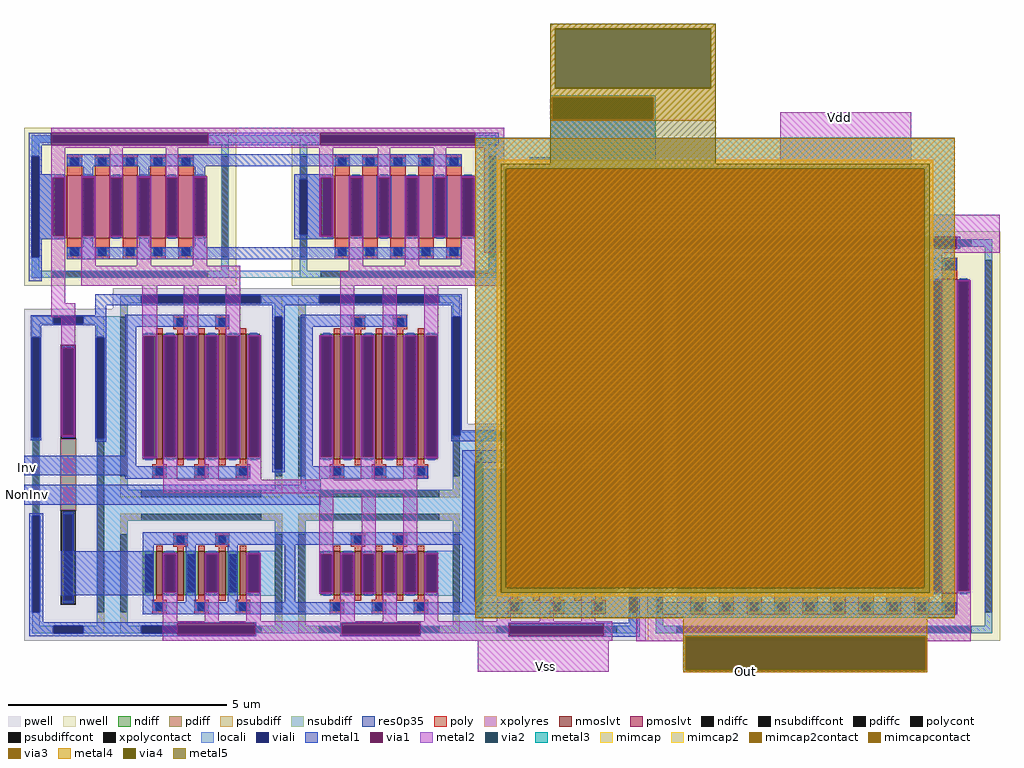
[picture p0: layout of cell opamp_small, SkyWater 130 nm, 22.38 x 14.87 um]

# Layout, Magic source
magic
tech sky130A
magscale 1 2
<< locali >>
rect -425 1474 -329 1508
rect 381 1474 897 1508
rect 1607 1474 1705 1508
rect -425 1412 -391 1474
rect -391 1032 -277 1330
rect -425 888 -391 950
rect 443 888 477 1474
rect 803 1330 837 1474
rect 803 1306 951 1330
rect 837 1052 951 1306
rect 803 1032 951 1052
rect 1671 1032 1705 1474
rect 803 888 837 1032
rect 1671 998 2643 1032
rect 3815 998 3977 1032
rect 1671 888 1705 998
rect -425 854 1705 888
rect -19 738 77 772
rect 625 738 893 772
rect 1441 738 1538 772
rect -19 678 15 738
rect -423 644 -327 678
rect -189 644 15 678
rect -423 582 -389 644
rect -423 -236 -389 122
rect -423 -740 -389 -678
rect -127 582 15 644
rect -93 116 15 582
rect -127 -118 15 116
rect 689 676 830 738
rect 723 -24 830 676
rect 1504 676 1538 738
rect 1504 150 1505 676
rect 1503 130 1505 150
rect 1539 130 1707 150
rect 1503 116 1707 130
rect 2257 116 2353 150
rect 689 -118 830 -24
rect 1504 -20 1645 116
rect 2319 54 2353 116
rect 1504 -118 1759 -20
rect -127 -260 1759 -118
rect -127 -740 15 -260
rect 689 -396 830 -260
rect 1504 -396 1759 -260
rect 575 -604 830 -396
rect 1389 -604 1759 -396
rect 689 -740 830 -604
rect 1504 -740 1645 -604
rect 2319 -740 2353 -678
rect -423 -774 -327 -740
rect -189 -774 77 -740
rect 597 -774 995 -740
rect 1353 -774 1765 -740
rect 2197 -774 2353 -740
rect 2435 -740 2469 998
rect 3943 -740 3977 998
rect 2435 -774 3977 -740
<< viali >>
rect -329 1474 381 1508
rect 897 1474 1607 1508
rect -425 950 -391 1412
rect 803 1052 837 1306
rect 2643 998 3815 1032
rect 77 738 625 772
rect 893 738 1441 772
rect -327 644 -189 678
rect -423 122 -389 582
rect -423 -678 -389 -236
rect -127 116 -93 582
rect 689 -24 723 676
rect 1505 130 1539 676
rect 1707 116 2257 150
rect 2319 -678 2353 54
rect -327 -774 -189 -740
rect 77 -774 597 -740
rect 995 -774 1353 -740
rect 1765 -774 2197 -740
<< metal1 >>
rect 1951 1682 2435 1692
rect 1951 1582 1961 1682
rect 2425 1582 2435 1682
rect -439 1462 -335 1520
rect 383 1462 897 1520
rect 1609 1462 1715 1520
rect -439 1412 -379 1462
rect -439 950 -425 1412
rect -391 1330 -379 1412
rect -265 1366 1545 1422
rect 1951 1408 2435 1582
rect -391 1314 -271 1330
rect -189 1320 -143 1366
rect 67 1320 113 1366
rect 323 1320 369 1366
rect -391 1048 -329 1314
rect -277 1048 -271 1314
rect -391 1032 -271 1048
rect -199 1314 -133 1320
rect -199 1048 -193 1314
rect -139 1048 -133 1314
rect -199 1042 -133 1048
rect -67 1314 -9 1320
rect -67 1048 -65 1314
rect -11 1048 -9 1314
rect -67 1042 -9 1048
rect 57 1314 123 1320
rect 57 1048 63 1314
rect 117 1048 123 1314
rect 57 1042 123 1048
rect 189 1314 247 1320
rect 189 1048 191 1314
rect 245 1048 247 1314
rect 189 1042 247 1048
rect 313 1314 379 1320
rect 313 1048 319 1314
rect 373 1048 379 1314
rect 313 1042 379 1048
rect 779 1314 957 1330
rect 779 1306 899 1314
rect 779 1052 803 1306
rect 837 1052 899 1306
rect 779 1048 899 1052
rect 951 1048 957 1314
rect -391 950 -379 1032
rect -189 996 -143 1042
rect 67 996 113 1042
rect 323 998 369 1042
rect 779 1032 957 1048
rect 1029 1314 1095 1320
rect 1029 1048 1035 1314
rect 1089 1048 1095 1314
rect 1029 1042 1095 1048
rect 1157 1314 1223 1320
rect 1157 1048 1163 1314
rect 1217 1048 1223 1314
rect 1157 1042 1223 1048
rect 1285 1314 1351 1320
rect 1285 1048 1291 1314
rect 1345 1048 1351 1314
rect 1285 1042 1351 1048
rect 1413 1314 1479 1320
rect 1413 1048 1419 1314
rect 1473 1048 1479 1314
rect 1413 1042 1479 1048
rect 1541 1314 1607 1320
rect 1541 1048 1547 1314
rect 1601 1048 1607 1314
rect 1541 1042 1607 1048
rect 1859 1204 2435 1408
rect 304 996 369 998
rect -439 840 -379 950
rect -265 940 1545 996
rect 1859 946 2343 1204
rect 2631 1042 3831 1044
rect 2631 988 2643 1042
rect 3815 988 3831 1042
rect 1767 890 3816 946
rect 1767 876 1823 890
rect 1767 814 1823 820
rect -135 772 1545 780
rect -135 738 77 772
rect 625 738 893 772
rect 1441 738 1545 772
rect -135 730 1545 738
rect -135 684 -85 730
rect -429 678 -85 684
rect -429 644 -327 678
rect -189 644 -85 678
rect -429 638 -85 644
rect -429 582 -381 638
rect -429 122 -423 582
rect -389 122 -381 582
rect -135 582 -85 638
rect -291 532 -227 538
rect -291 132 -285 532
rect -233 132 -227 532
rect -291 126 -227 132
rect -429 110 -381 122
rect -135 116 -127 582
rect -93 116 -85 582
rect -135 104 -85 116
rect 3 630 481 686
rect 677 676 735 730
rect 3 40 53 630
rect -459 -10 53 40
rect 81 586 149 592
rect 81 34 87 586
rect 143 34 149 586
rect 81 28 149 34
rect 177 586 241 592
rect 177 34 183 586
rect 235 34 241 586
rect 177 28 241 34
rect 271 586 339 592
rect 271 34 277 586
rect 333 34 339 586
rect 271 28 339 34
rect 367 586 431 592
rect 367 34 373 586
rect 425 34 431 586
rect 367 28 431 34
rect 463 586 531 592
rect 463 34 469 586
rect 525 34 531 586
rect 463 28 531 34
rect 563 586 627 592
rect 563 34 569 586
rect 621 34 627 586
rect 563 28 627 34
rect -459 -50 577 -10
rect 677 -24 689 676
rect 723 -24 735 676
rect 677 -36 735 -24
rect 807 630 1295 686
rect 1497 676 1545 730
rect 807 -10 863 630
rect 893 586 957 592
rect 893 34 899 586
rect 951 34 957 586
rect 893 22 957 34
rect 989 586 1053 592
rect 989 34 995 586
rect 1047 34 1053 586
rect 989 28 1053 34
rect 1083 586 1147 592
rect 1083 34 1089 586
rect 1141 34 1147 586
rect 1083 22 1147 34
rect 1183 586 1247 592
rect 1183 34 1189 586
rect 1241 34 1247 586
rect 1183 28 1247 34
rect 1279 586 1343 592
rect 1279 34 1285 586
rect 1337 34 1343 586
rect 1279 22 1343 34
rect 1375 586 1439 592
rect 1375 34 1381 586
rect 1433 34 1439 586
rect 1497 130 1505 676
rect 1539 156 1545 676
rect 1539 150 2363 156
rect 1539 130 1707 150
rect 1497 116 1707 130
rect 2257 116 2363 150
rect 1497 106 2363 116
rect 1375 28 1439 34
rect 1549 8 2111 64
rect 2311 54 2363 106
rect 3 -66 577 -50
rect 807 -66 1391 -10
rect 807 -94 899 -66
rect -459 -186 899 -94
rect -437 -236 -373 -224
rect -437 -678 -423 -236
rect -389 -678 -373 -236
rect 1549 -312 1605 8
rect 83 -368 1605 -312
rect 83 -400 135 -368
rect -293 -600 135 -400
rect 175 -412 241 -406
rect 175 -588 181 -412
rect 235 -588 241 -412
rect 175 -594 241 -588
rect -437 -724 -373 -678
rect 83 -632 135 -600
rect 281 -632 327 -368
rect 367 -412 433 -406
rect 367 -588 373 -412
rect 427 -588 433 -412
rect 367 -594 433 -588
rect 473 -632 519 -368
rect 559 -412 625 -406
rect 559 -588 565 -412
rect 619 -588 625 -412
rect 559 -594 625 -588
rect 735 -632 783 -368
rect 893 -412 957 -406
rect 893 -588 899 -412
rect 951 -588 957 -412
rect 893 -594 957 -588
rect 989 -412 1055 -406
rect 989 -588 995 -412
rect 1049 -588 1055 -412
rect 989 -594 1055 -588
rect 1087 -412 1151 -406
rect 1087 -588 1093 -412
rect 1145 -588 1151 -412
rect 1087 -594 1151 -588
rect 1183 -412 1249 -406
rect 1183 -588 1189 -412
rect 1241 -588 1249 -412
rect 1183 -594 1249 -588
rect 1279 -412 1343 -406
rect 1279 -588 1285 -412
rect 1337 -588 1343 -412
rect 1279 -594 1343 -588
rect 1375 -412 1439 -406
rect 1375 -588 1381 -412
rect 1433 -588 1439 -412
rect 1375 -594 1439 -588
rect 1549 -632 1605 -368
rect 1707 -36 1771 -30
rect 1707 -588 1713 -36
rect 1765 -588 1771 -36
rect 1707 -594 1771 -588
rect 1807 -36 1871 -30
rect 1807 -588 1813 -36
rect 1865 -588 1871 -36
rect 1807 -594 1871 -588
rect 1903 -36 1967 -30
rect 1903 -588 1909 -36
rect 1961 -588 1967 -36
rect 1903 -594 1967 -588
rect 1999 -36 2063 -30
rect 1999 -588 2005 -36
rect 2057 -588 2063 -36
rect 1999 -594 2063 -588
rect 2095 -36 2159 -30
rect 2095 -588 2101 -36
rect 2153 -588 2159 -36
rect 2095 -594 2159 -588
rect 2191 -36 2255 -30
rect 2191 -588 2197 -36
rect 2249 -588 2255 -36
rect 2191 -594 2255 -588
rect 83 -688 2207 -632
rect 2311 -678 2319 54
rect 2353 -678 2363 54
rect -437 -730 605 -724
rect -437 -740 241 -730
rect -437 -774 -327 -740
rect -189 -774 77 -740
rect -437 -782 241 -774
rect 597 -782 605 -730
rect -437 -788 605 -782
rect 989 -730 1359 -724
rect 2311 -726 2363 -678
rect 2397 -632 2453 890
rect 2531 838 2595 844
rect 2531 -580 2537 838
rect 2589 -580 2595 838
rect 2531 -586 2595 -580
rect 2661 838 2725 844
rect 2661 -580 2667 838
rect 2719 -580 2725 838
rect 2661 -586 2725 -580
rect 2791 838 2855 844
rect 2791 -580 2797 838
rect 2849 -580 2855 838
rect 2791 -586 2855 -580
rect 2917 838 2981 844
rect 2917 -580 2923 838
rect 2975 -580 2981 838
rect 2917 -586 2981 -580
rect 3047 838 3111 844
rect 3047 -580 3053 838
rect 3105 -580 3111 838
rect 3047 -586 3111 -580
rect 3173 838 3237 844
rect 3173 -580 3179 838
rect 3231 -580 3237 838
rect 3173 -586 3237 -580
rect 3303 838 3367 844
rect 3303 -580 3309 838
rect 3361 -580 3367 838
rect 3303 -586 3367 -580
rect 3429 838 3493 844
rect 3429 -580 3435 838
rect 3487 -580 3493 838
rect 3429 -586 3493 -580
rect 3559 838 3623 844
rect 3559 -580 3565 838
rect 3617 -580 3623 838
rect 3559 -586 3623 -580
rect 3685 838 3749 844
rect 3685 -580 3691 838
rect 3743 -580 3749 838
rect 3685 -586 3749 -580
rect 3815 838 3879 844
rect 3815 -580 3821 838
rect 3873 -580 3879 838
rect 3815 -586 3879 -580
rect 2397 -688 3816 -632
rect 989 -782 995 -730
rect 1353 -782 1359 -730
rect 989 -788 1359 -782
rect 1759 -732 2363 -726
rect 1759 -786 1765 -732
rect 2197 -786 2363 -732
rect 1759 -792 2363 -786
<< via1 >>
rect 1961 1582 2425 1682
rect -335 1508 383 1520
rect -335 1474 -329 1508
rect -329 1474 381 1508
rect 381 1474 383 1508
rect -335 1462 383 1474
rect 897 1508 1609 1520
rect 897 1474 1607 1508
rect 1607 1474 1609 1508
rect 897 1462 1609 1474
rect -329 1048 -277 1314
rect -193 1048 -139 1314
rect -65 1048 -11 1314
rect 63 1048 117 1314
rect 191 1048 245 1314
rect 319 1048 373 1314
rect 899 1048 951 1314
rect 1035 1048 1089 1314
rect 1163 1048 1217 1314
rect 1291 1048 1345 1314
rect 1419 1048 1473 1314
rect 1547 1048 1601 1314
rect 2643 1032 3815 1042
rect 2643 998 3815 1032
rect 2643 988 3815 998
rect 1767 820 1823 876
rect -285 132 -233 532
rect 87 34 143 586
rect 183 34 235 586
rect 277 34 333 586
rect 373 34 425 586
rect 469 34 525 586
rect 569 34 621 586
rect 899 34 951 586
rect 995 34 1047 586
rect 1089 34 1141 586
rect 1189 34 1241 586
rect 1285 34 1337 586
rect 1381 34 1433 586
rect 181 -588 235 -412
rect 373 -588 427 -412
rect 565 -588 619 -412
rect 899 -588 951 -412
rect 995 -588 1049 -412
rect 1093 -588 1145 -412
rect 1189 -588 1241 -412
rect 1285 -588 1337 -412
rect 1381 -588 1433 -412
rect 1713 -588 1765 -36
rect 1813 -588 1865 -36
rect 1909 -588 1961 -36
rect 2005 -588 2057 -36
rect 2101 -588 2153 -36
rect 2197 -588 2249 -36
rect 241 -740 597 -730
rect 241 -774 597 -740
rect 241 -782 597 -774
rect 2537 -580 2589 838
rect 2667 -580 2719 838
rect 2797 -580 2849 838
rect 2923 -580 2975 838
rect 3053 -580 3105 838
rect 3179 -580 3231 838
rect 3309 -580 3361 838
rect 3435 -580 3487 838
rect 3565 -580 3617 838
rect 3691 -580 3743 838
rect 3821 -580 3873 838
rect 995 -740 1353 -730
rect 995 -774 1353 -740
rect 995 -782 1353 -774
rect 1765 -740 2197 -732
rect 1765 -774 2197 -740
rect 1765 -786 2197 -774
<< metal2 >>
rect 1951 1682 2435 1692
rect 1951 1582 1961 1682
rect 2425 1582 2435 1682
rect 1951 1574 2435 1582
rect -335 1520 1741 1544
rect 383 1462 897 1520
rect 1609 1462 1741 1520
rect -335 1452 1741 1462
rect -335 1314 -271 1452
rect -335 1048 -329 1314
rect -277 1048 -271 1314
rect -335 738 -271 1048
rect -199 1314 -133 1320
rect -199 1048 -193 1314
rect -139 1048 -133 1314
rect -199 910 -133 1048
rect -67 1314 -9 1452
rect -67 1048 -65 1314
rect -11 1048 -9 1314
rect -67 1042 -9 1048
rect 57 1314 123 1320
rect 57 1048 63 1314
rect 117 1048 123 1314
rect 57 910 123 1048
rect 189 1314 247 1452
rect 189 1048 191 1314
rect 245 1048 247 1314
rect 189 1042 247 1048
rect 313 1314 379 1320
rect 313 1048 319 1314
rect 373 1048 379 1314
rect 313 910 379 1048
rect 893 1314 957 1452
rect 893 1048 899 1314
rect 951 1048 957 1314
rect 893 1042 957 1048
rect 1029 1314 1095 1320
rect 1029 1048 1035 1314
rect 1089 1048 1095 1314
rect 1029 910 1095 1048
rect 1161 1314 1219 1452
rect 1161 1048 1163 1314
rect 1217 1048 1219 1314
rect 1161 1042 1219 1048
rect 1285 1314 1351 1320
rect 1285 1048 1291 1314
rect 1345 1048 1351 1314
rect 1285 910 1351 1048
rect 1417 1314 1475 1452
rect 1417 1048 1419 1314
rect 1473 1048 1475 1314
rect 1417 1042 1475 1048
rect 1541 1314 1607 1320
rect 1541 1048 1547 1314
rect 1601 1048 1607 1314
rect 1541 910 1607 1048
rect 1649 1144 1741 1452
rect 3007 1144 3607 1614
rect 1649 1042 4013 1144
rect 1649 988 2643 1042
rect 3815 988 4013 1042
rect 1649 970 4013 988
rect -199 818 531 910
rect 1029 888 1607 910
rect -335 674 -227 738
rect -291 532 -227 674
rect -291 132 -285 532
rect -233 132 -227 532
rect -291 126 -227 132
rect 81 586 149 818
rect 81 34 87 586
rect 143 34 149 586
rect 81 28 149 34
rect 177 586 241 592
rect 177 34 183 586
rect 235 34 241 586
rect 177 -70 241 34
rect 271 586 339 818
rect 271 34 277 586
rect 333 34 339 586
rect 271 28 339 34
rect 367 586 431 592
rect 367 34 373 586
rect 425 34 431 586
rect 367 -70 431 34
rect 463 586 531 818
rect 989 878 1607 888
rect 989 876 1829 878
rect 989 820 1767 876
rect 1823 820 1829 876
rect 989 818 1829 820
rect 2531 838 2595 844
rect 463 34 469 586
rect 525 34 531 586
rect 463 28 531 34
rect 563 586 627 592
rect 563 34 569 586
rect 621 34 627 586
rect 563 -70 627 34
rect 893 586 957 592
rect 893 34 899 586
rect 951 34 957 586
rect 893 -70 957 34
rect 989 586 1053 818
rect 989 34 995 586
rect 1047 34 1053 586
rect 989 28 1053 34
rect 1083 586 1147 592
rect 1083 34 1089 586
rect 1141 34 1147 586
rect 1083 -70 1147 34
rect 1183 586 1247 818
rect 1183 34 1189 586
rect 1241 34 1247 586
rect 1183 28 1247 34
rect 1279 586 1343 592
rect 1279 34 1285 586
rect 1337 34 1343 586
rect 1279 -70 1343 34
rect 1375 586 1439 818
rect 1375 34 1381 586
rect 1433 34 1439 586
rect 1375 28 1439 34
rect 1807 62 2471 186
rect 177 -134 1343 -70
rect 175 -412 241 -406
rect 175 -588 181 -412
rect 235 -588 241 -412
rect 175 -720 241 -588
rect 367 -412 433 -406
rect 367 -588 373 -412
rect 427 -588 433 -412
rect 367 -720 433 -588
rect 559 -412 625 -406
rect 559 -588 565 -412
rect 619 -588 625 -412
rect 559 -720 625 -588
rect 893 -412 957 -134
rect 893 -588 899 -412
rect 951 -588 957 -412
rect 893 -594 957 -588
rect 989 -412 1055 -406
rect 989 -588 995 -412
rect 1049 -588 1055 -412
rect 989 -720 1055 -588
rect 1087 -412 1151 -134
rect 1087 -588 1093 -412
rect 1145 -588 1151 -412
rect 1087 -594 1151 -588
rect 1183 -412 1249 -406
rect 1183 -588 1189 -412
rect 1241 -588 1249 -412
rect 1183 -720 1249 -588
rect 1279 -412 1343 -134
rect 1707 -36 1771 -30
rect 1279 -588 1285 -412
rect 1337 -588 1343 -412
rect 1279 -594 1343 -588
rect 1375 -412 1439 -406
rect 1375 -588 1381 -412
rect 1433 -588 1439 -412
rect 1375 -720 1439 -588
rect 1707 -588 1713 -36
rect 1765 -588 1771 -36
rect 1707 -720 1771 -588
rect 1807 -36 1871 62
rect 1807 -588 1813 -36
rect 1865 -588 1871 -36
rect 1807 -594 1871 -588
rect 1903 -36 1967 -30
rect 1903 -588 1909 -36
rect 1961 -588 1967 -36
rect 1903 -720 1967 -588
rect 1999 -36 2063 62
rect 1999 -588 2005 -36
rect 2057 -588 2063 -36
rect 1999 -594 2063 -588
rect 2095 -36 2159 -30
rect 2095 -588 2101 -36
rect 2153 -588 2159 -36
rect 2095 -720 2159 -588
rect 2191 -36 2255 62
rect 2191 -588 2197 -36
rect 2249 -588 2255 -36
rect 2191 -594 2255 -588
rect 2347 -688 2471 62
rect 2531 -580 2537 838
rect 2589 -580 2595 838
rect 2531 -688 2595 -580
rect 2661 838 2725 970
rect 2661 -580 2667 838
rect 2719 -580 2725 838
rect 2661 -586 2725 -580
rect 2791 838 2855 844
rect 2791 -580 2797 838
rect 2849 -580 2855 838
rect 2791 -688 2855 -580
rect 2917 838 2981 970
rect 2917 -580 2923 838
rect 2975 -580 2981 838
rect 2917 -586 2981 -580
rect 3047 838 3111 844
rect 3047 -580 3053 838
rect 3105 -580 3111 838
rect 3047 -688 3111 -580
rect 3173 838 3237 970
rect 3173 -580 3179 838
rect 3231 -580 3237 838
rect 3173 -586 3237 -580
rect 3303 838 3367 844
rect 3303 -580 3309 838
rect 3361 -580 3367 838
rect 3303 -688 3367 -580
rect 3429 838 3493 970
rect 3429 -580 3435 838
rect 3487 -580 3493 838
rect 3429 -586 3493 -580
rect 3559 838 3623 844
rect 3559 -580 3565 838
rect 3617 -580 3623 838
rect 3559 -688 3623 -580
rect 3685 838 3749 970
rect 3685 -580 3691 838
rect 3743 -580 3749 838
rect 3685 -586 3749 -580
rect 3815 838 3879 844
rect 3815 -580 3821 838
rect 3873 -580 3879 838
rect 3815 -688 3879 -580
rect 175 -730 2237 -720
rect 175 -782 241 -730
rect 597 -782 995 -730
rect 1353 -732 2237 -730
rect 1353 -782 1765 -732
rect 175 -786 1765 -782
rect 2197 -786 2237 -732
rect 175 -810 2237 -786
rect 2347 -792 3879 -688
rect 1619 -952 2219 -810
rect 2347 -812 2571 -792
rect 2561 -944 2571 -812
rect 3673 -812 3879 -792
rect 3673 -944 3681 -812
rect 2561 -954 3681 -944
<< via2 >>
rect 1961 1582 2425 1682
rect 2571 -944 3673 -792
<< metal3 >>
rect 1951 1682 2435 1692
rect 1951 1582 1961 1682
rect 2425 1582 2435 1682
rect 1951 1386 2435 1582
rect 2561 -792 3681 -784
rect 2561 -944 2571 -792
rect 3673 -944 3681 -792
rect 2561 -954 3681 -944
<< via3 >>
rect 1961 1582 2425 1682
rect 2571 -944 3673 -792
<< metal4 >>
rect 1951 1996 2711 2020
rect 1951 1724 1975 1996
rect 2687 1724 2711 1996
rect 1951 1682 2711 1724
rect 1951 1582 1961 1682
rect 2425 1582 2711 1682
rect 1951 1576 2711 1582
rect 2561 -792 3681 -684
rect 2561 -944 2571 -792
rect 3673 -944 3681 -792
rect 2561 -954 3681 -944
<< via4 >>
rect 1975 1724 2687 1996
<< metal5 >>
rect 1951 1996 2711 2020
rect 1951 1724 1975 1996
rect 2687 1724 2711 1996
rect 1951 1378 2711 1724
use sky130_fd_pr__cap_mim_m3_1_6ZNTNB  sky130_fd_pr__cap_mim_m3_1_6ZNTNB_0
transform -1 0 2656 0 -1 396
box -1150 -1100 1049 1100
use sky130_fd_pr__cap_mim_m3_2_6ZNTNB  sky130_fd_pr__cap_mim_m3_2_6ZNTNB_0
transform 1 0 2959 0 1 394
box -1351 -1100 849 1100
use sky130_fd_pr__nfet_01v8_lvt_46VND8  sky130_fd_pr__nfet_01v8_lvt_46VND8_0
transform 1 0 1982 0 1 -312
box -407 -498 407 498
use sky130_fd_pr__nfet_01v8_lvt_46VND8  sky130_fd_pr__nfet_01v8_lvt_46VND8_1
transform 1 0 352 0 1 310
box -407 -498 407 498
use sky130_fd_pr__nfet_01v8_lvt_46VND8  sky130_fd_pr__nfet_01v8_lvt_46VND8_2
transform 1 0 1167 0 1 310
box -407 -498 407 498
use sky130_fd_pr__nfet_01v8_lvt_595QY5  sky130_fd_pr__nfet_01v8_lvt_595QY5_0
transform 1 0 352 0 1 -500
box -407 -310 407 310
use sky130_fd_pr__nfet_01v8_lvt_595QY5  sky130_fd_pr__nfet_01v8_lvt_595QY5_1
transform 1 0 1167 0 1 -500
box -407 -310 407 310
use sky130_fd_pr__pfet_01v8_lvt_4YVKJ3  sky130_fd_pr__pfet_01v8_lvt_4YVKJ3_0
transform 1 0 26 0 1 1181
box -487 -363 487 363
use sky130_fd_pr__pfet_01v8_lvt_4YVKJ3  sky130_fd_pr__pfet_01v8_lvt_4YVKJ3_1
transform 1 0 1254 0 1 1181
box -487 -363 487 363
use sky130_fd_pr__pfet_01v8_lvt_MUFCUN  sky130_fd_pr__pfet_01v8_lvt_MUFCUN_1
transform 1 0 3207 0 1 129
box -807 -939 807 939
use sky130_fd_pr__res_xhigh_po_0p35_NZJDJZ  sky130_fd_pr__res_xhigh_po_0p35_NZJDJZ_0
transform 1 0 -258 0 1 -48
box -201 -762 201 762
<< labels >>
rlabel metal1 -447 -14 -447 -14 3 Inv
port 1 e
rlabel metal2 1929 -928 1931 -928 5 Vss
port 5 s
rlabel metal2 3279 1588 3279 1588 1 Vdd
port 4 n
rlabel metal4 2845 -948 2845 -948 5 Out
port 3 s
rlabel metal1 -445 -140 -445 -140 7 NonInv
port 2 w
<< end >>

# cell sky130_fd_pr__cap_mim_m3_1_6ZNTNB: kit device sky130_fd_pr__cap_mim_m3_1, w 10 l 10 val 207.6 carea 2.00 cperi 0.19 nx 1 ny 1 dummy 0 square 0 lmin 2.00 wmin 2.00 lmax 30.0 wmax 30.0 dc 0 bconnect 1 tconnect 1 ccov 100

# cell sky130_fd_pr__cap_mim_m3_2_6ZNTNB: kit device sky130_fd_pr__cap_mim_m3_2, w 10 l 10 val 207.6 carea 2.00 cperi 0.19 nx 1 ny 1 dummy 0 square 0 lmin 2.00 wmin 2.00 lmax 30.0 wmax 30.0 dc 0 bconnect 1 tconnect 1 ccov 100

# cell sky130_fd_pr__nfet_01v8_lvt_46VND8: kit device sky130_fd_pr__nfet_01v8_lvt, w 2.88 l 0.150 m 1 nf 5 diffcov 100 polycov 100 guard 1 glc 1 grc 1 gtc 1 gbc 1 tbcov 100 rlcov 100 topc 1 botc 1 poverlap 0 doverlap 1 lmin 0.15 wmin 0.42 compatible {sky130_fd_pr__nfet_01v8 sky130_fd_pr__nfet_01v8_lvt sky130_fd_bs_flash__special_sonosfet_star sky130_fd_pr__nfet_g5v0d10v5 sky130_fd_pr__nfet_05v0_nvt sky130_fd_pr__nfet_03v3_nvt} full_metal 1 viasrc 100 viadrn 100 viagate 100 viagb 0 viagr 0 viagl 0 viagt 0

# cell sky130_fd_pr__nfet_01v8_lvt_595QY5: kit device sky130_fd_pr__nfet_01v8_lvt, w 1 l 0.150 m 1 nf 5 diffcov 100 polycov 100 guard 1 glc 1 grc 1 gtc 1 gbc 1 tbcov 100 rlcov 100 topc 1 botc 1 poverlap 0 doverlap 1 lmin 0.15 wmin 0.42 compatible {sky130_fd_pr__nfet_01v8 sky130_fd_pr__nfet_01v8_lvt sky130_fd_bs_flash__special_sonosfet_star sky130_fd_pr__nfet_g5v0d10v5 sky130_fd_pr__nfet_05v0_nvt sky130_fd_pr__nfet_03v3_nvt} full_metal 1 viasrc 100 viadrn 100 viagate 100 viagb 0 viagr 0 viagl 0 viagt 0

# cell sky130_fd_pr__pfet_01v8_lvt_4YVKJ3: kit device sky130_fd_pr__pfet_01v8_lvt, w 1.44 l 0.35 m 1 nf 5 diffcov 100 polycov 100 guard 1 glc 1 grc 1 gtc 1 gbc 1 tbcov 100 rlcov 100 topc 1 botc 1 poverlap 0 doverlap 1 lmin 0.35 wmin 0.42 compatible {sky130_fd_pr__pfet_01v8 sky130_fd_pr__pfet_01v8_lvt sky130_fd_pr__pfet_01v8_hvt sky130_fd_pr__pfet_g5v0d10v5} full_metal 1 viasrc 100 viadrn 100 viagate 100 viagb 0 viagr 0 viagl 0 viagt 0

# cell sky130_fd_pr__pfet_01v8_lvt_MUFCUN: kit device sky130_fd_pr__pfet_01v8_lvt, w 7.2 l 0.35 m 1 nf 10 diffcov 100 polycov 100 guard 1 glc 1 grc 1 gtc 1 gbc 1 tbcov 100 rlcov 100 topc 1 botc 1 poverlap 0 doverlap 1 lmin 0.35 wmin 0.42 compatible {sky130_fd_pr__pfet_01v8 sky130_fd_pr__pfet_01v8_lvt sky130_fd_pr__pfet_01v8_hvt sky130_fd_pr__pfet_g5v0d10v5} full_metal 1 viasrc 100 viadrn 100 viagate 100 viagb 0 viagr 0 viagl 0 viagt 0

# cell sky130_fd_pr__res_xhigh_po_0p35_NZJDJZ: kit device sky130_fd_pr__res_xhigh_po_0p35, w 0.350 l 1.64 m 1 nx 1 wmin 0.350 lmin 0.50 rho 2000 val 10.446k dummy 0 dw 0.0 term 188.2 sterm 0.0 caplen 0 wmax 0.350 guard 1 glc 1 grc 1 gtc 1 gbc 1 compatible {sky130_fd_pr__res_xhigh_po_0p35 sky130_fd_pr__res_xhigh_po_0p69 sky130_fd_pr__res_xhigh_po_1p41 sky130_fd_pr__res_xhigh_po_2p85 sky130_fd_pr__res_xhigh_po_5p73} snake 0 full_metal 1 n_guard 0 hv_guard 0 vias 1 viagb 0 viagt 0 viagl 0 viagr 0
